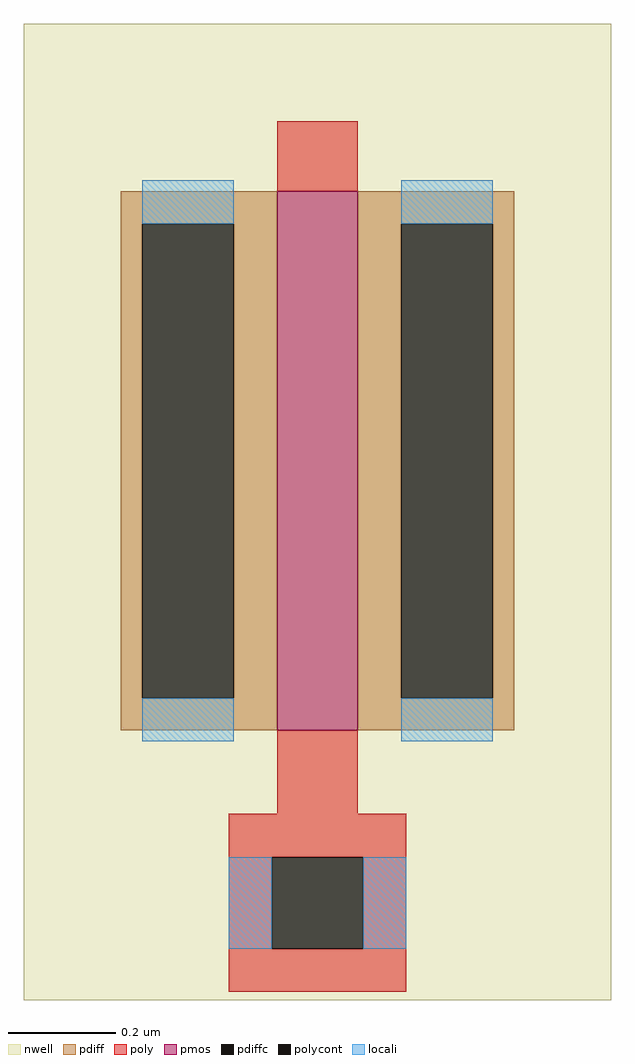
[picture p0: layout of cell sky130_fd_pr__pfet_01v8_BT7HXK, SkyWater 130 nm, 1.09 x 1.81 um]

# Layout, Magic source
magic
tech sky130A
magscale 1 2
<< nwell >>
rect -109 -164 109 198
<< pmos >>
rect -15 -64 15 136
<< pdiff >>
rect -73 124 -15 136
rect -73 -52 -65 124
rect -31 -52 -15 124
rect -73 -64 -15 -52
rect 15 124 73 136
rect 15 -52 31 124
rect 65 -52 73 124
rect 15 -64 73 -52
<< pdiffc >>
rect -65 -52 -31 124
rect 31 -52 65 124
<< poly >>
rect -15 136 15 162
rect -15 -95 15 -64
rect -33 -111 33 -95
rect -33 -145 -17 -111
rect 17 -145 33 -111
rect -33 -161 33 -145
<< polycont >>
rect -17 -145 17 -111
<< locali >>
rect -65 124 -31 140
rect -65 -68 -31 -52
rect 31 124 65 140
rect 31 -68 65 -52
rect -33 -145 -17 -111
rect 17 -145 33 -111
<< properties >>
string gencell sky130_fd_pr__pfet_01v8
string parameters w 1 l 0.15 m 1 nf 1 diffcov 100 polycov 100 guard 0 glc 0 grc 0 gtc 0 gbc 0 tbcov 100 rlcov 100 topc 0 botc 1 poverlap 0 doverlap 1 lmin 0.15 wmin 0.42 compatible {sky130_fd_pr__pfet_01v8  sky130_fd_pr__pfet_01v8_lvt sky130_fd_pr__pfet_01v8_hvt  sky130_fd_pr__pfet_g5v0d10v5} full_metal 0 viasrc 40 viadrn -40 viagate 100 viagb 0 viagr 0 viagl 0 viagt 80
string library sky130
<< end >>
